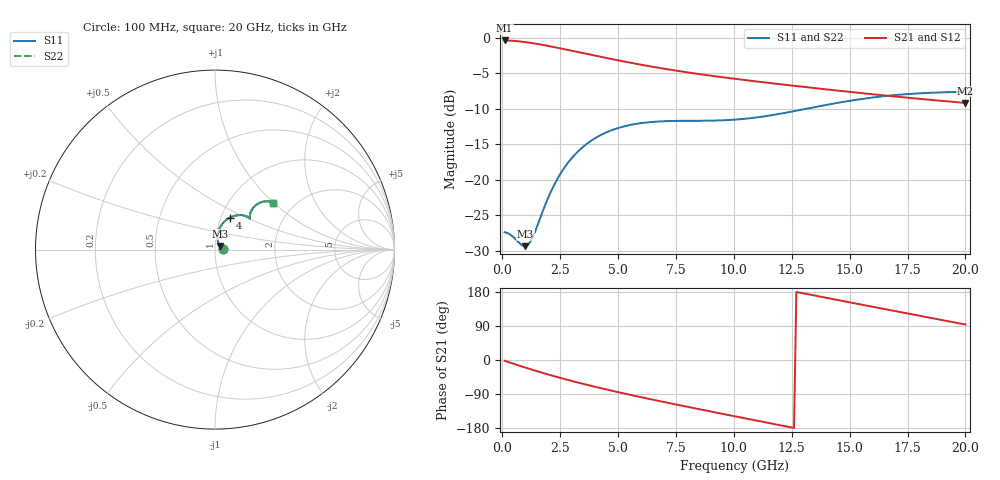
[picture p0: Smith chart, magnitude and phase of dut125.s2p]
! Created with skrf 1.9.0 (http://scikit-rf.org).
# GHz S RI R 50.0
!freq ReS11 ImS11 ReS21 ImS21 ReS12 ImS12 ReS22 ImS22
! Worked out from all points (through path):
!   200 points, 100 MHz to 20 GHz, reference 50 ohm
!   highest |S21| = -0.38 dB at 100 MHz (marker M1); lowest = -9.2 dB at 20 GHz (marker M2)
!   group delay of S21, straight-line fit = 35.4 ps
!   lowest |S11| = -29.3 dB at 1 GHz (marker M3), VSWR 1.07, Z = 52.8 + j2.11 ohm
!   |S11| at or under -10 dB: start of sweep to 13.12 GHz
!   |S22| runs from -29.3 to -7.6 dB; largest |S21 - S12| = 2.7e-15
!   S11 on the Smith chart (normalised r, x): 100 MHz: 1.09, +0.00; 4 GHz: 1.10, +0.41; 20 GHz: 1.57, +1.00
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0.1  0.0429 0.000743  0.9561 -0.0339  0.9561 -0.0339  0.0429 0.000743
0.5  0.0388 0.00654  0.9348 -0.1683  0.9348 -0.1683  0.0388 0.00654
0.8  0.0326 0.0134  0.9026 -0.2622  0.9026 -0.2622  0.0326 0.0134
1  0.0278 0.0199  0.8746 -0.3202  0.8746 -0.3202  0.0278 0.0199
1.1  0.0254 0.0239  0.8589 -0.3478  0.8589 -0.3478  0.0254 0.0239
1.3  0.021 0.033  0.8247 -0.3996  0.8247 -0.3996  0.021 0.033
2  0.0142 0.0747  0.6837 -0.5456  0.6837 -0.5456  0.0142 0.0747
2.4  0.0188 0.1012  0.5954 -0.6052  0.5954 -0.6052  0.0188 0.1012
2.9  0.0329 0.1321  0.4834 -0.6581  0.4834 -0.6581  0.0329 0.1321
3.5  0.0583 0.1614  0.3522 -0.6943  0.3522 -0.6943  0.0583 0.1614
4  0.0827 0.178  0.2486 -0.7059  0.2486 -0.7059  0.0827 0.178
5.2  0.1381 0.1923  0.029 -0.6825  0.029 -0.6825  0.1381 0.1923
6  0.1652 0.189  -0.0927 -0.6389  -0.0927 -0.6389  0.1652 0.189
6.8  0.1827 0.182  -0.1953 -0.5806  -0.1953 -0.5806  0.1827 0.182
8.4  0.1953 0.1724  -0.3479 -0.4364  -0.3479 -0.4364  0.1953 0.1724
10.1  0.1941 0.1816  -0.4407 -0.262  -0.4407 -0.262  0.1941 0.1816
11.7  0.1982 0.2067  -0.4677 -0.0946  -0.4677 -0.0946  0.1982 0.2067
13.4  0.2179 0.2383  -0.4387 0.0687  -0.4387 0.0687  0.2179 0.2383
15.1  0.2507 0.2613  -0.3624 0.2011  -0.3624 0.2011  0.2507 0.2613
16.7  0.2839 0.2692  -0.2619 0.2886  -0.2619 0.2886  0.2839 0.2692
18.3  0.3097 0.2667  -0.1471 0.3373  -0.1471 0.3373  0.3097 0.2667
20  0.3239 0.2619  -0.0221 0.3471  -0.0221 0.3471  0.3239 0.2619
